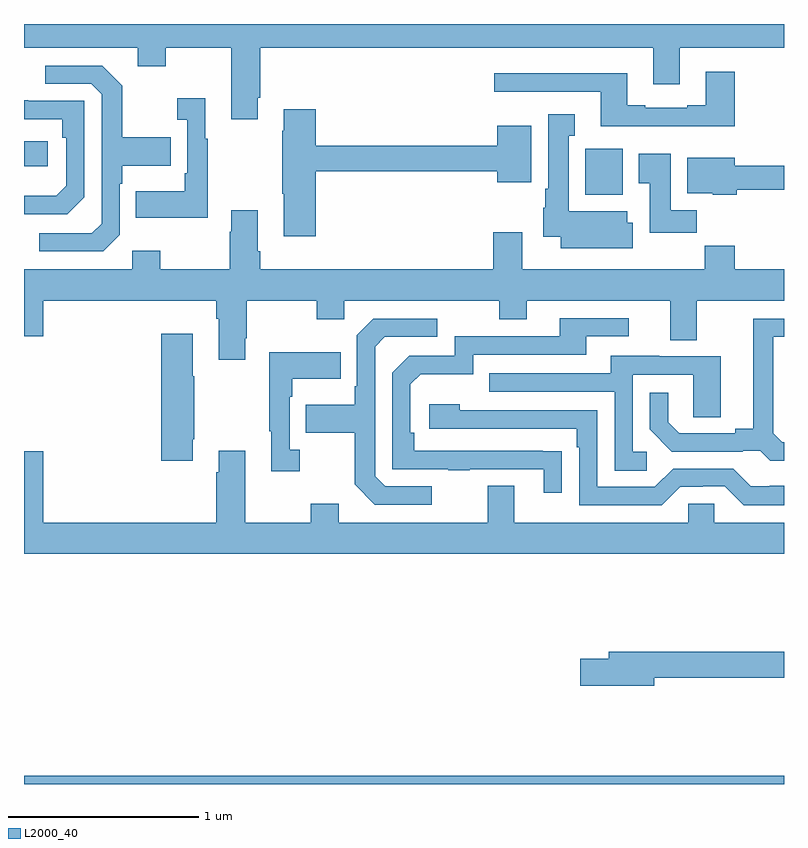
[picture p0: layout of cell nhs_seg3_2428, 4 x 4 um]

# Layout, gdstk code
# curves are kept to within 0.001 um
import gdstk
lib = gdstk.Library(unit=1e-6, precision=1e-09)
def R(c, l, rs):  # rectangles x0, y0, x1, y1
    for r in rs: c.add(gdstk.rectangle(r[:2], r[2:], *l))
def P(c, l, *ps):  # polygons
    for p in ps: c.add(gdstk.Polygon(p, *l))
L2000_40 = (2000, 40)

nhs_seg3_2428 = lib.new_cell('nhs_seg3_2428')
R(nhs_seg3_2428, L2000_40, [(237,670.4,241,670.444), (239.954,673.502,240.151,673.744), (237,673.652,237.124,673.782)])
P(nhs_seg3_2428, L2000_40, [(238.231,674.011),(238.244,674.011),(238.244,674.276),(240.311,674.276),(240.311,674.082),(240.451,674.082),(240.451,674.276),(241,674.276),(241,674.4),(237,674.4),(237,674.276),(237.599,674.276),(237.599,674.177),(237.747,674.177),(237.747,674.276),(238.091,674.276),(238.091,673.899),(238.231,673.899)],
  [(237.504,673.29),(237.504,673.559),(237.517,673.559),(237.517,673.655),(237.773,673.655),(237.773,673.803),(237.517,673.803),(237.517,674.075),(237.411,674.181),(237.111,674.181),(237.111,674.085),(237.354,674.085),(237.408,674.031),(237.408,673.35),(237.357,673.299),(237.081,673.299),(237.081,673.203),(237.417,673.203)],
  [(240.74,674.149),(240.587,674.149),(240.587,673.972),(240.491,673.972),(240.491,673.959),(240.271,673.959),(240.271,673.972),(240.175,673.972),(240.175,674.14),(239.475,674.14),(239.475,674.043),(240.035,674.043),(240.035,673.862),(240.74,673.862)],
  [(237.967,673.795),(237.955,673.795),(237.955,674.008),(237.807,674.008),(237.807,673.895),(237.858,673.895),(237.858,673.615),(237.846,673.615),(237.846,673.519),(237.589,673.519),(237.589,673.379),(237.967,673.379)],
  [(237.318,673.488),(237.318,673.995),(237.023,673.995),(237.023,674),(237,674),(237,673.899),(237.202,673.899),(237.202,673.802),(237.222,673.802),(237.222,673.548),(237.169,673.495),(237,673.495),(237,673.398),(237.228,673.398)],
  [(238.535,673.624),(239.492,673.624),(239.492,673.568),(239.671,673.568),(239.671,673.864),(239.492,673.864),(239.492,673.76),(238.535,673.76),(238.535,673.951),(238.367,673.951),(238.367,673.838),(238.36,673.838),(238.36,673.507),(238.367,673.507),(238.367,673.284),(238.535,673.284)],
  [(240.205,673.355),(240.175,673.355),(240.175,673.414),(239.866,673.414),(239.866,673.811),(239.899,673.811),(239.899,673.924),(239.759,673.924),(239.759,673.534),(239.744,673.534),(239.744,673.434),(239.732,673.434),(239.732,673.28),(239.825,673.28),(239.825,673.22),(240.205,673.22)],
  [(240.542,673.42),(240.403,673.42),(240.403,673.717),(240.236,673.717),(240.236,673.561),(240.293,673.561),(240.293,673.302),(240.542,673.302)],
  [(240.75,673.527),(241,673.527),(241,673.655),(240.742,673.655),(240.742,673.696),(240.491,673.696),(240.491,673.508),(240.624,673.508),(240.624,673.502),(240.75,673.502)],
  [(238.165,672.745),(238.173,672.745),(238.173,672.944),(238.54,672.944),(238.54,672.845),(238.686,672.845),(238.686,672.944),(239.5,672.944),(239.5,672.845),(239.647,672.845),(239.647,672.944),(240.401,672.944),(240.401,672.736),(240.541,672.736),(240.541,672.944),(241,672.944),(241,673.108),(240.74,673.108),(240.74,673.232),(240.583,673.232),(240.583,673.108),(239.623,673.108),(239.623,673.303),(239.471,673.303),(239.471,673.108),(238.244,673.108),(238.244,673.204),(238.231,673.204),(238.231,673.42),(238.091,673.42),(238.091,673.307),(238.084,673.307),(238.084,673.108),(237.717,673.108),(237.717,673.207),(237.57,673.207),(237.57,673.108),(237,673.108),(237,672.756),(237.1,672.756),(237.1,672.944),(238.013,672.944),(238.013,672.848),(238.025,672.848),(238.025,672.633),(238.165,672.633)],
  [(239.831,672.152),(239.054,672.153),(239.054,672.25),(239.034,672.25),(239.034,672.504),(239.087,672.557),(239.364,672.557),(239.364,672.66),(239.959,672.66),(239.959,672.756),(240.184,672.756),(240.184,672.852),(239.819,672.852),(239.819,672.756),(239.268,672.756),(239.268,672.654),(239.028,672.654),(238.938,672.564),(238.938,672.057),(239.233,672.057),(239.233,672.052),(239.345,672.052),(239.345,672.057),(239.735,672.057),(239.735,671.934),(239.831,671.934)],
  [(241,672.198),(240.99,672.198),(240.943,672.245),(240.943,672.753),(241,672.753),(241,672.849),(240.839,672.849),(240.839,672.269),(240.743,672.269),(240.743,672.246),(240.448,672.246),(240.391,672.303),(240.391,672.46),(240.294,672.46),(240.294,672.266),(240.41,672.15),(240.782,672.15),(240.782,672.153),(240.876,672.153),(240.928,672.101),(241,672.101)],
  [(239.146,671.967),(238.902,671.967),(238.848,672.021),(238.848,672.702),(238.899,672.753),(239.176,672.753),(239.176,672.849),(238.839,672.849),(238.752,672.762),(238.752,672.493),(238.74,672.493),(238.74,672.397),(238.483,672.397),(238.483,672.25),(238.74,672.25),(238.74,671.977),(238.845,671.871),(239.146,671.871)],
  [(237.889,672.214),(237.897,672.214),(237.897,672.545),(237.889,672.545),(237.889,672.769),(237.722,672.769),(237.722,672.102),(237.889,672.102)],
  [(238.45,672.158),(238.398,672.158),(238.398,672.437),(238.411,672.437),(238.411,672.533),(238.667,672.533),(238.667,672.673),(238.29,672.673),(238.29,672.257),(238.301,672.257),(238.301,672.045),(238.45,672.045)],
  [(240.277,672.15),(240.204,672.15),(240.204,672.555),(240.522,672.555),(240.522,672.331),(240.667,672.331),(240.667,672.651),(240.343,672.651),(240.343,672.655),(240.089,672.655),(240.089,672.561),(239.449,672.561),(239.449,672.465),(240.108,672.465),(240.108,672.049),(240.277,672.049)],
  [(241,671.971),(240.925,671.971),(240.925,671.967),(240.825,671.967),(240.732,672.06),(240.417,672.06),(240.321,671.964),(240.018,671.964),(240.018,672.366),(239.294,672.366),(239.294,672.4),(239.133,672.4),(239.133,672.27),(239.909,672.27),(239.909,672.173),(239.922,672.173),(239.922,671.868),(240.357,671.868),(240.453,671.964),(240.572,671.964),(240.572,671.967),(240.687,671.967),(240.787,671.867),(241,671.867)],
  [(241,671.776),(240.633,671.776),(240.633,671.874),(240.495,671.874),(240.495,671.776),(239.581,671.776),(239.581,671.971),(239.441,671.971),(239.441,671.776),(238.657,671.776),(238.657,671.875),(238.51,671.875),(238.51,671.776),(238.165,671.776),(238.165,672.154),(238.025,672.154),(238.025,672.041),(238.013,672.041),(238.013,671.776),(237.1,671.776),(237.1,672.151),(237,672.151),(237,671.612),(241,671.612)],
  [(240.316,670.96),(241,670.96),(241,671.096),(240.077,671.096),(240.077,671.06),(239.928,671.06),(239.928,670.918),(240.316,670.918)])

lib.write_gds('nhs_seg3_2428.gds')
